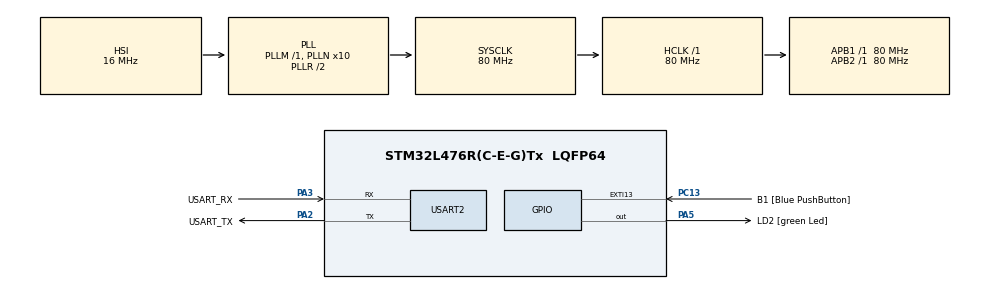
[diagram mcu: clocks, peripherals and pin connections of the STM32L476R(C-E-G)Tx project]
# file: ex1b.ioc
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Mcu.Family=STM32L4
Mcu.Name=STM32L476R(C-E-G)Tx
Mcu.Package=LQFP64
NVIC.PriorityGroup=NVIC_PRIORITYGROUP_4
NVIC.USART2_IRQn=true\:0\:0\:false\:false\:true\:true\:true
PA13\ (JTMS-SWDIO).GPIO_Label=TMS
PA13\ (JTMS-SWDIO).Mode=Serial_Wire
PA13\ (JTMS-SWDIO).Signal=SYS_JTMS-SWDIO
PA14\ (JTCK-SWCLK).GPIO_Label=TCK
PA14\ (JTCK-SWCLK).Mode=Serial_Wire
PA14\ (JTCK-SWCLK).Signal=SYS_JTCK-SWCLK
PA2.GPIO_Label=USART_TX
PA2.GPIO_Mode=GPIO_MODE_AF_PP
PA2.GPIO_PuPd=GPIO_NOPULL
PA2.GPIO_Speed=GPIO_SPEED_FREQ_VERY_HIGH
PA2.Mode=Asynchronous
PA2.Signal=USART2_TX
PA3.GPIO_Label=USART_RX
PA3.GPIO_Mode=GPIO_MODE_AF_PP
PA3.GPIO_PuPd=GPIO_NOPULL
PA3.GPIO_Speed=GPIO_SPEED_FREQ_VERY_HIGH
PA3.Mode=Asynchronous
PA3.Signal=USART2_RX
PA5.GPIO_Label=LD2 [green Led]
PA5.GPIO_ModeDefaultOutputPP=GPIO_MODE_OUTPUT_PP
PA5.GPIO_PuPd=GPIO_NOPULL
PA5.GPIO_Speed=GPIO_SPEED_FREQ_LOW
PA5.Signal=GPIO_Output
PB3\ (JTDO-TRACESWO).GPIO_Label=SWO
PB3\ (JTDO-TRACESWO).Signal=SYS_JTDO-SWO
PC13.GPIO_Label=B1 [Blue PushButton]
PC13.GPIO_ModeDefaultEXTI=GPIO_MODE_IT_FALLING
PC13.GPIO_PuPd=GPIO_NOPULL
PC13.Signal=GPXTI13
PC14-OSC32_IN\ (PC14).Mode=LSE-External-Oscillator
PC14-OSC32_IN\ (PC14).Signal=RCC_OSC32_IN
PC15-OSC32_OUT\ (PC15).Mode=LSE-External-Oscillator
PC15-OSC32_OUT\ (PC15).Signal=RCC_OSC32_OUT
PH0-OSC_IN\ (PH0).Signal=RCC_OSC_IN
PH1-OSC_OUT\ (PH1).Signal=RCC_OSC_OUT
ProjectManager.HeapSize=0x200
ProjectManager.StackSize=0x400
ProjectManager.TargetToolchain=STM32CubeIDE
RCC.ADCFreq_Value=64000000
RCC.AHBFreq_Value=80000000
RCC.APB1Freq_Value=80000000
RCC.APB1TimFreq_Value=80000000
RCC.APB2Freq_Value=80000000
RCC.APB2TimFreq_Value=80000000
RCC.CortexFreq_Value=80000000
RCC.HCLKFreq_Value=80000000
RCC.HSE_VALUE=8000000
RCC.HSI_VALUE=16000000
RCC.MSI_VALUE=4000000
RCC.PLLN=10
RCC.PLLSourceVirtual=RCC_PLLSOURCE_HSI
RCC.PREFETCH_ENABLE=1
RCC.SYSCLKFreq_VALUE=80000000
RCC.SYSCLKSource=RCC_SYSCLKSOURCE_PLLCLK
RCC.USBFreq_Value=64000000
RCC.VCOOutputFreq_Value=160000000
USART2.VirtualMode-Asynchronous=VM_ASYNC
board=NUCLEO-L476RG

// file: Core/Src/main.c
/* USER CODE BEGIN Header */
/**
  ******************************************************************************
  * @file           : main.c
  * @brief          : Main program body
  ******************************************************************************
  * @attention
  *
  * <h2><center>&copy; Copyright (c) 2021 STMicroelectronics.
  * All rights reserved.</center></h2>
  *
  * This software component is licensed by ST under BSD 3-Clause license,
  * the "License"; You may not use this file except in compliance with the
  * License. You may obtain a copy of the License at:
  *                        opensource.org/licenses/BSD-3-Clause
  *
  ******************************************************************************
  */
/* USER CODE END Header */
#include "main.h"
#include "usart.h"
#include "gpio.h"

/* USER CODE BEGIN Includes */
#include <stdio.h>
/* USER CODE END Includes */

/* USER CODE BEGIN PV */
uint16_t  Version=0;
uint16_t Received;

/* USER CODE END PV */

void SystemClock_Config(void);
/* USER CODE BEGIN PFP */
void HAL_UART_RxCpltCallback(UART_HandleTypeDef *huart){
	if(huart->Instance == USART2){
	uint16_t Data[50];
	uint16_t size=0;

	switch(Received){

	case 'a':
		Version=0;
		size=sprintf((char*)Data, "  <- %c ", Received);
		break;
	case 'b':
		Version=1;
		size=sprintf((char*)Data, "  <- %c ", Received);
		break;
	default:
		size=sprintf((char*)Data, "  <- %c \n\r Niepoprawne dane ", Received);
		break;
	}
	HAL_UART_Transmit_IT(&huart2, Data, size);
	HAL_UART_Receive_IT(&huart2, &Received, 1);
	}
}
/* USER CODE END PFP */

int main(void)
{
  /* USER CODE BEGIN 1 */
	uint16_t Data[50];
	uint16_t size=0;
	uint16_t inc=0;
  /* USER CODE END 1 */

  /* MCU Configuration--------------------------------------------------------*/

  /* Reset of all peripherals, Initializes the Flash interface and the Systick. */
  HAL_Init();

  /* Configure the system clock */
  SystemClock_Config();

  /* Initialize all configured peripherals */
  MX_GPIO_Init();
  MX_USART2_UART_Init();
  /* USER CODE BEGIN 2 */
  HAL_UART_Receive_IT(&huart2, &Received, 1);
  /* USER CODE END 2 */

  /* Infinite loop */
  while (1)
  {
	  if(Version==0){
	  	  size=sprintf((char*)Data, "\n\r Witaj %d ", inc++);
	  	  HAL_UART_Transmit_IT(&huart2, Data, size);
	  }
	  else if(Version==1){
		  size=sprintf((char*)Data, "\n\r Hej %d", inc++);
		  HAL_UART_Transmit_IT(&huart2, Data, size);
	  }
	  	  HAL_Delay(1000);
  }
}

void SystemClock_Config(void)
{
  RCC_OscInitTypeDef RCC_OscInitStruct = {0};
  RCC_ClkInitTypeDef RCC_ClkInitStruct = {0};
  RCC_PeriphCLKInitTypeDef PeriphClkInit = {0};

  /** Initializes the RCC Oscillators according to the specified parameters
  * in the RCC_OscInitTypeDef structure.
  */
  RCC_OscInitStruct.OscillatorType = RCC_OSCILLATORTYPE_HSI;
  RCC_OscInitStruct.HSIState = RCC_HSI_ON;
  RCC_OscInitStruct.HSICalibrationValue = RCC_HSICALIBRATION_DEFAULT;
  RCC_OscInitStruct.PLL.PLLState = RCC_PLL_ON;
  RCC_OscInitStruct.PLL.PLLSource = RCC_PLLSOURCE_HSI;
  RCC_OscInitStruct.PLL.PLLM = 1;
  RCC_OscInitStruct.PLL.PLLN = 10;
  RCC_OscInitStruct.PLL.PLLP = RCC_PLLP_DIV7;
  RCC_OscInitStruct.PLL.PLLQ = RCC_PLLQ_DIV2;
  RCC_OscInitStruct.PLL.PLLR = RCC_PLLR_DIV2;
  if (HAL_RCC_OscConfig(&RCC_OscInitStruct) != HAL_OK)
  {
    Error_Handler();
  }
  /** Initializes the CPU, AHB and APB buses clocks
  */
  RCC_ClkInitStruct.ClockType = RCC_CLOCKTYPE_HCLK|RCC_CLOCKTYPE_SYSCLK
                              |RCC_CLOCKTYPE_PCLK1|RCC_CLOCKTYPE_PCLK2;
  RCC_ClkInitStruct.SYSCLKSource = RCC_SYSCLKSOURCE_PLLCLK;
  RCC_ClkInitStruct.AHBCLKDivider = RCC_SYSCLK_DIV1;
  RCC_ClkInitStruct.APB1CLKDivider = RCC_HCLK_DIV1;
  RCC_ClkInitStruct.APB2CLKDivider = RCC_HCLK_DIV1;

  if (HAL_RCC_ClockConfig(&RCC_ClkInitStruct, FLASH_LATENCY_4) != HAL_OK)
  {
    Error_Handler();
  }
  PeriphClkInit.PeriphClockSelection = RCC_PERIPHCLK_USART2;
  PeriphClkInit.Usart2ClockSelection = RCC_USART2CLKSOURCE_PCLK1;
  if (HAL_RCCEx_PeriphCLKConfig(&PeriphClkInit) != HAL_OK)
  {
    Error_Handler();
  }
  /** Configure the main internal regulator output voltage
  */
  if (HAL_PWREx_ControlVoltageScaling(PWR_REGULATOR_VOLTAGE_SCALE1) != HAL_OK)
  {
    Error_Handler();
  }
}

void Error_Handler(void)
{
}

/************************ (C) COPYRIGHT STMicroelectronics *****END OF FILE****/
